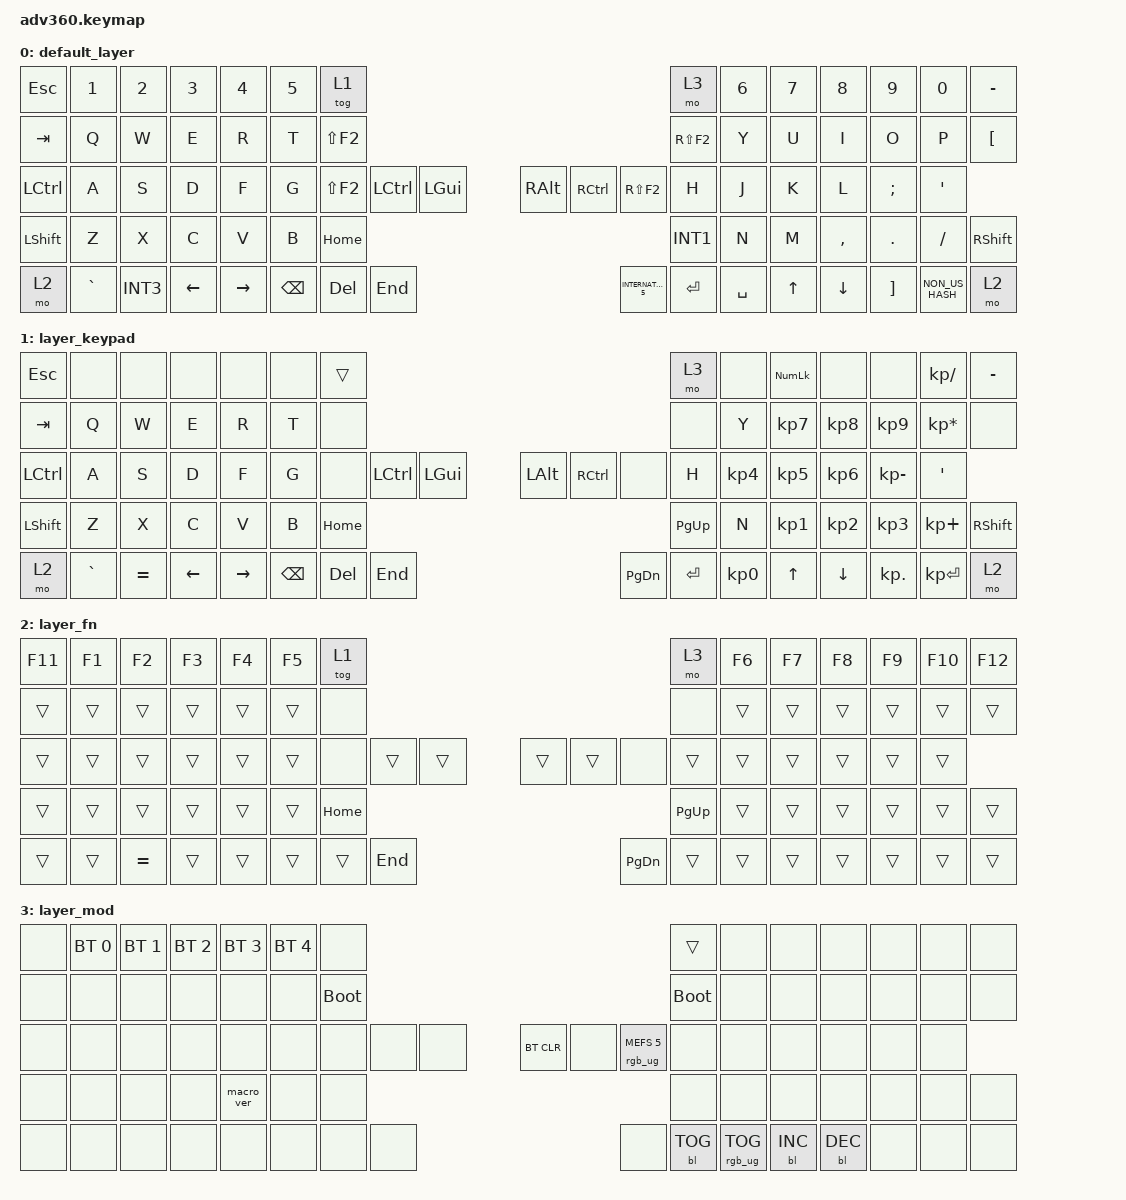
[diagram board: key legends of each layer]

/*
 * Copyright (c) 2020 The ZMK Contributors
 *
 * SPDX-License-Identifier: MIT
 */


/* THIS FILE WAS GENERATED!
 *
 * This file was generated automatically. You may or may not want to
 * edit it directly.
 */

#include <behaviors.dtsi>
#include <dt-bindings/zmk/keys.h>
#include <dt-bindings/zmk/bt.h>
#include <dt-bindings/zmk/rgb.h>
#include <dt-bindings/zmk/backlight.h>

/ {
  behaviors {
    #include "macros.dtsi"
    #include "version.dtsi"

    hm: homerow_mods {
        compatible = "zmk,behavior-hold-tap";
        label = "HOMEROW_MODS";
        #binding-cells = <2>;
        tapping-term-ms = <200>;
        quick_tap_ms = <175>;
        flavor = "tap-preferred";
        bindings = <&kp>, <&kp>;
    };
  };

    keymap {
        compatible = "zmk,keymap";


        default_layer {
            bindings = <
   &kp ESC     &kp N1    &kp N2    &kp N3     &kp N4  &kp N5                &tog 1                                                                            &mo 3  &kp N6  &kp N7     &kp N8             &kp N9           &kp N0         &kp MINUS
   &kp TAB      &kp Q     &kp W     &kp E      &kp R   &kp T            &kp LS(F2)                                                                       &kp RS(F2)   &kp Y   &kp U      &kp I              &kp O            &kp P  &kp LEFT_BRACKET
 &kp LCTRL      &kp A     &kp S     &kp D      &kp F   &kp G            &kp LS(F2)  &kp LCTRL  &kp LGUI                             &kp RALT  &kp RCTRL  &kp RS(F2)   &kp H   &kp J      &kp K              &kp L    &kp SEMICOLON  &kp SINGLE_QUOTE
 &kp LSHFT      &kp Z     &kp X     &kp C      &kp V   &kp B                                   &kp HOME                             &kp INT1                          &kp N   &kp M  &kp COMMA            &kp DOT         &kp FSLH         &kp RSHFT
     &mo 2  &kp GRAVE  &kp INT3  &kp LEFT  &kp RIGHT                      &kp BSPC    &kp DEL   &kp END                  &kp INTERNATIONAL_5  &kp ENTER   &kp SPACE          &kp UP   &kp DOWN  &kp RIGHT_BRACKET  &kp NON_US_HASH             &mo 2
            >;
        };

        layer_keypad {
            bindings = <
   &kp ESC      &none      &none     &none      &none   &none              &trans                                                                 &mo 3   &none  &kp KP_NUM      &none       &none    &kp KP_DIVIDE         &kp MINUS
   &kp TAB      &kp Q      &kp W     &kp E      &kp R   &kp T               &none                                                                 &none   &kp Y   &kp KP_N7  &kp KP_N8   &kp KP_N9  &kp KP_MULTIPLY             &none
 &kp LCTRL      &kp A      &kp S     &kp D      &kp F   &kp G               &none  &kp LCTRL  &kp LGUI                   &kp LALT  &kp RCTRL      &none   &kp H   &kp KP_N4  &kp KP_N5   &kp KP_N6     &kp KP_MINUS  &kp SINGLE_QUOTE
 &kp LSHFT      &kp Z      &kp X     &kp C      &kp V   &kp B                                 &kp HOME                  &kp PG_UP                         &kp N   &kp KP_N1  &kp KP_N2   &kp KP_N3      &kp KP_PLUS         &kp RSHFT
     &mo 2  &kp GRAVE  &kp EQUAL  &kp LEFT  &kp RIGHT                    &kp BSPC    &kp DEL   &kp END                  &kp PG_DN  &kp ENTER  &kp KP_N0              &kp UP   &kp DOWN  &kp KP_DOT     &kp KP_ENTER             &mo 2
            >;
        };

        layer_fn {
            bindings = <
 &kp F11  &kp F1     &kp F2  &kp F3  &kp F4  &kp F5            &tog 1                                                        &mo 3  &kp F6  &kp F7  &kp F8  &kp F9  &kp F10  &kp F12
  &trans  &trans     &trans  &trans  &trans  &trans             &none                                                        &none  &trans  &trans  &trans  &trans   &trans   &trans
  &trans  &trans     &trans  &trans  &trans  &trans             &none  &trans    &trans                     &trans  &trans   &none  &trans  &trans  &trans  &trans   &trans   &trans
  &trans  &trans     &trans  &trans  &trans  &trans                            &kp HOME                  &kp PG_UP                  &trans  &trans  &trans  &trans   &trans   &trans
  &trans  &trans  &kp EQUAL  &trans  &trans                    &trans  &trans   &kp END                  &kp PG_DN  &trans  &trans          &trans  &trans  &trans   &trans   &trans
            >;
        };

        layer_mod {
            bindings = <
  &none  &bt BT_SEL 0  &bt BT_SEL 1  &bt BT_SEL 2  &bt BT_SEL 3  &bt BT_SEL 4                  &none                                                                          &trans   &none       &none       &none   &none   &none   &none
  &none         &none         &none         &none         &none         &none            &bootloader                                                                     &bootloader   &none       &none       &none   &none   &none   &none
  &none         &none         &none         &none         &none         &none                  &none   &none   &none                  &bt BT_CLR       &none  &rgb_ug RGB_MEFS_CMD 5   &none       &none       &none   &none   &none   &none
  &none         &none         &none         &none    &macro_ver         &none                                  &none                       &none                                       &none       &none       &none   &none   &none   &none
  &none         &none         &none         &none         &none                                &none   &none   &none                       &none  &bl BL_TOG         &rgb_ug RGB_TOG          &bl BL_INC  &bl BL_DEC   &none   &none   &none
            >;
        };

    };
};
